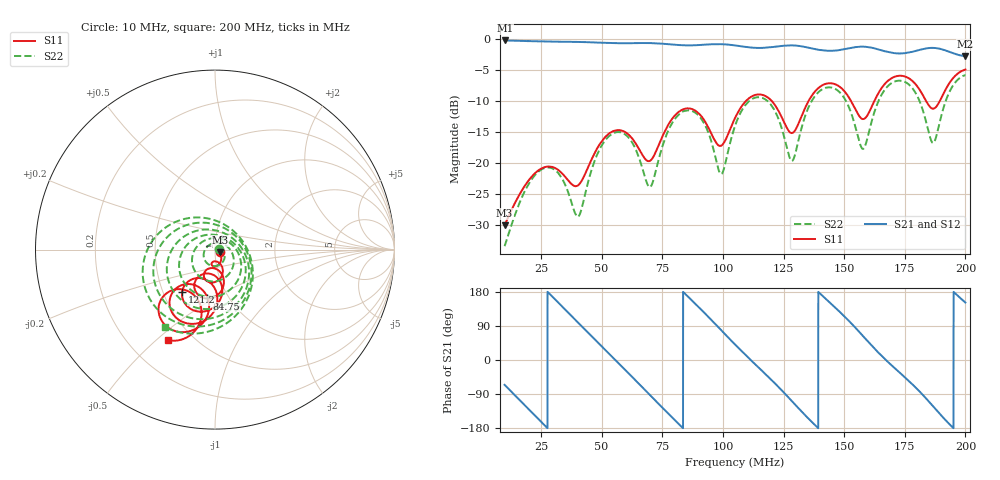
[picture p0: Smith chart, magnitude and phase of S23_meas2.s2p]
# Hz S DB R 50
! CMT, S5243, 23023023, 22.3.3/5
! Date: 6/29/2023 10:13:32 AM
! Data: Format (Calibration Info)
! Freq	S11:dB/Ang(F2)	S21:dB/Ang(F2)	S12:dB/Ang(F2)	S22:dB/Ang(F2)
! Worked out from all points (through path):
!   5001 points, 10 MHz to 200 MHz, reference 50 ohm
!   highest |S21| = -0.19 dB at 10.04 MHz (marker M1); lowest = -2.7 dB at 200 MHz (marker M2)
!   group delay of S21, straight-line fit = 17.9 ns
!   lowest |S11| = -30.1 dB at 10 MHz (marker M3), VSWR 1.06, Z = 52.8 - j1.62 ohm
!   |S11| at or under -10 dB: start of sweep to 109.4 MHz; 120.2 MHz to 135.3 MHz (15.06 MHz wide, 11.8 % of centre); 152.9 MHz to 162.4 MHz (9.55 MHz wide, 6.06 % of centre)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
!   |S22| runs from -33.4 to -5.8 dB; largest |S21 - S12| = 0.0056
!   S11 on the Smith chart (normalised r, x): 10 MHz: 1.06, -0.03; 84.75 MHz: 0.79, -0.47; 121.2 MHz: 0.63, -0.33; 200 MHz: 0.36, -0.54
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1e7  -30.06 -29.2  -0.19 -65.6  -0.20 -65.6  -33.41 12.1
1.0038e7  -30.02 -29.3  -0.19 -65.8  -0.20 -65.9  -33.37 12.1
1.7638e7  -24.09 -55.8  -0.27 -115.1  -0.28 -115.1  -25.08 -22.3
2.6644e7  -20.64 -86.7  -0.36 -173.2  -0.36 -173.2  -20.77 -86.0
4.1692e7  -22.91 -76.5  -0.44 89.6  -0.45 89.5  -27.45 63.6
5.6664e7  -14.67 -96.8  -0.65 -6.6  -0.66 -6.7  -14.98 -99.0
6.586e7  -18.01 -113.6  -0.61 -65.6  -0.62 -65.7  -19.63 172.8
7.3346e7  -17.27 -75.1  -0.67 -114.7  -0.69 -114.8  -19.69 11.4
8.4746e7  -11.19 -99.1  -0.98 172.6  -0.98 172.5  -11.52 -98.1
9.5842e7  -15.73 -119.2  -0.80 101.9  -0.82 101.8  -17.35 157.2
1.05e8  -12.72 -79.8  -0.99 41.0  -1.00 40.9  -14.00 -31.0
1.21188e8  -10.48 -127.7  -1.23 -59.9  -1.21 -60.0  -11.39 -167.3
1.28522e8  -15.15 -109.0  -0.99 -109.0  -0.99 -109.0  -19.64 67.1
1.36692e8  -9.09 -91.6  -1.48 -163.7  -1.48 -163.6  -9.93 -65.4
1.5402e8  -10.85 -134.4  -1.31 89.5  -1.30 89.5  -13.28 142.6
1.6143e8  -10.84 -97.3  -1.37 37.6  -1.37 37.7  -13.14 -24.4
1.68346e8  -6.61 -105.6  -2.08 -6.8  -2.08 -6.7  -7.45 -95.1
1.76782e8  -6.32 -129.7  -2.14 -55.9  -2.14 -55.8  -7.34 -159.3
1.83736e8  -9.93 -135.5  -1.48 -101.1  -1.49 -101.0  -13.25 125.0
1.90804e8  -8.91 -102.0  -1.68 -151.8  -1.70 -152.0  -11.30 -39.9
1.99962e8  -4.90 -117.6  -2.74 151.8  -2.79 151.6  -5.78 -122.8
2e8  -4.90 -117.7  -2.74 151.6  -2.79 151.4  -5.78 -123.0
